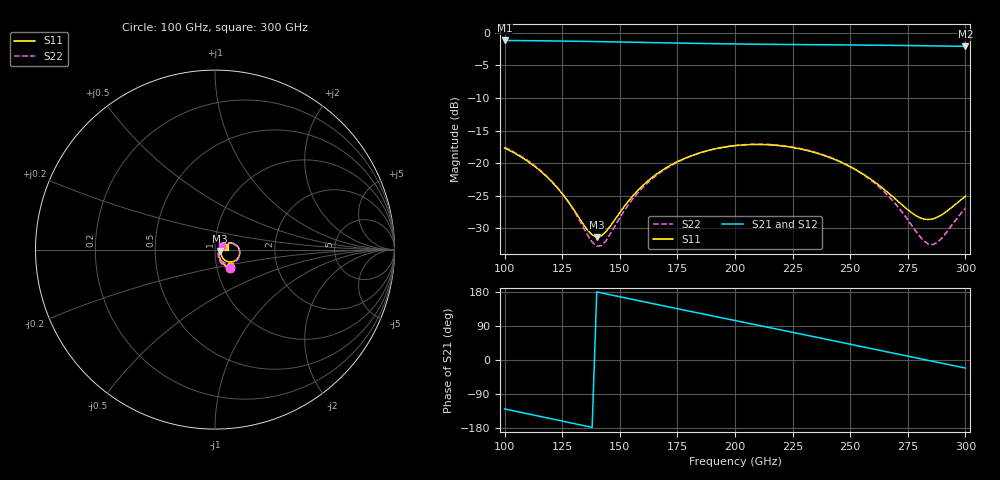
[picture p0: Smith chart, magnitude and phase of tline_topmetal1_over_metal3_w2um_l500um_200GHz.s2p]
#  GHZ S DB R 50
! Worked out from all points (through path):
!   101 points, 100 GHz to 300 GHz, reference 50 ohm
!   highest |S21| = -1.16 dB at 100 GHz (marker M1); lowest = -2.1 dB at 300 GHz (marker M2)
!   group delay of S21, straight-line fit = 3.49 ps
!   lowest |S11| = -31.3 dB at 140 GHz (marker M3), VSWR 1.06, Z = 52.6 - j0.866 ohm
!   |S11| at or under -10 dB: start of sweep to end of sweep
!   |S22| runs from -32.7 to -17.1 dB; largest |S21 - S12| = 1.5e-12
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100  -17.66 -49.0  -1.16 -129.1  -1.16 -129.1  -17.55 -51.7
110  -19.69 -56.9  -1.20 -141.9  -1.20 -141.9  -19.58 -60.4
120  -22.66 -61.7  -1.23 -154.7  -1.23 -154.7  -22.57 -66.6
128  -26.08 -59.2  -1.27 -165.0  -1.27 -165.0  -26.13 -66.1
134  -29.27 -47.1  -1.30 -172.7  -1.30 -172.7  -29.74 -55.9
138  -31.01 -29.2  -1.32 -177.8  -1.32 -177.8  -32.11 -37.6
140  -31.33 -17.6  -1.34 179.7  -1.34 179.7  -32.72 -24.0
144  -30.50 4.4  -1.36 174.6  -1.36 174.6  -31.89 3.2
152  -26.60 25.3  -1.41 164.4  -1.41 164.4  -27.23 26.7
158  -24.10 28.4  -1.45 156.8  -1.45 156.8  -24.46 29.1
168  -21.17 25.1  -1.52 144.2  -1.52 144.2  -21.33 24.9
184  -18.49 13.0  -1.62 124.1  -1.62 124.1  -18.52 11.4
200  -17.31 -1.6  -1.70 104.2  -1.70 104.2  -17.28 -4.3
216  -17.21 -16.7  -1.76 84.2  -1.76 84.2  -17.14 -20.6
234  -18.30 -32.7  -1.81 61.7  -1.81 61.7  -18.22 -38.6
252  -20.92 -45.1  -1.86 39.1  -1.86 39.1  -20.92 -54.4
260  -22.72 -47.6  -1.89 29.1  -1.89 29.1  -22.88 -59.4
268  -24.98 -45.6  -1.92 19.0  -1.92 19.0  -25.56 -61.0
278  -27.93 -30.3  -1.96 6.4  -1.96 6.4  -30.18 -49.1
284  -28.64 -12.8  -1.99 -1.2  -1.99 -1.2  -32.41 -24.1
288  -28.26 -1.0  -2.01 -6.2  -2.01 -6.2  -32.10 -3.0
300  -25.06 17.8  -2.07 -21.3  -2.07 -21.3  -26.89 24.7
